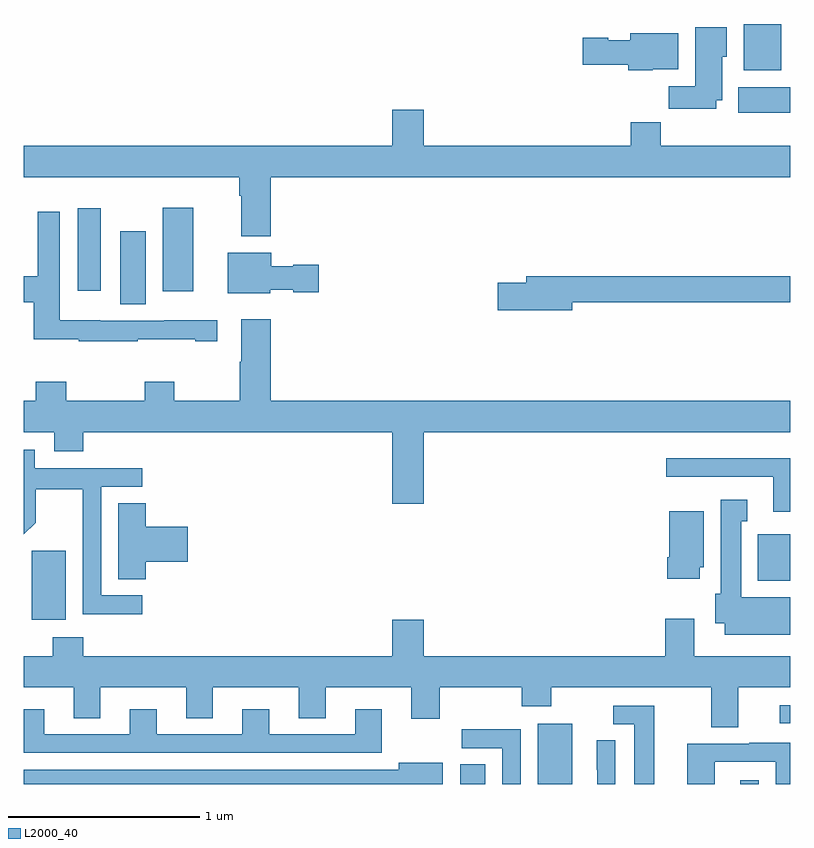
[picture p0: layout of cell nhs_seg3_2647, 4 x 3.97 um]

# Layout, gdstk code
import gdstk
lib = gdstk.Library(unit=1e-6, precision=1e-09)
def R(c, l, rs):  # rectangles x0, y0, x1, y1
    for r in rs: c.add(gdstk.rectangle(r[:2], r[2:], *l))
def P(c, l, *ps):  # polygons
    for p in ps: c.add(gdstk.Polygon(p, *l))
L2000_40 = (2000, 40)

nhs_seg3_2647 = lib.new_cell('nhs_seg3_2647')
R(nhs_seg3_2647, L2000_40, [(249.278,712.4,249.409,712.502), (249.683,712.4,249.862,712.714), (250.739,712.4,250.836,712.42), (250.947,712.716,251,712.812), (247.04,713.258,247.219,713.619), (250.832,713.462,251,713.704), (247.502,714.904,247.636,715.285), (247.724,714.972,247.885,715.408), (247.28,714.975,247.402,715.405), (250.73,715.904,251,716.038), (250.757,716.126,250.954,716.368)])
P(nhs_seg3_2647, L2000_40, [(250.615,715.97),(250.645,715.97),(250.645,716.196),(250.669,716.196),(250.669,716.35),(250.505,716.35),(250.505,716.044),(250.366,716.044),(250.366,715.926),(250.615,715.926)],
  [(250.284,716.132),(250.417,716.132),(250.417,716.32),(250.166,716.32),(250.166,716.284),(250.05,716.284),(250.05,716.297),(249.918,716.297),(249.918,716.155),(250.154,716.155),(250.154,716.126),(250.284,716.126)],
  [(248.288,715.568),(251,715.568),(251,715.732),(250.325,715.732),(250.325,715.856),(250.169,715.856),(250.169,715.732),(249.088,715.732),(249.088,715.921),(248.924,715.921),(248.924,715.732),(247,715.732),(247,715.568),(248.123,715.568),(248.123,715.472),(248.135,715.472),(248.135,715.259),(248.288,715.259)],
  [(247.595,714.721),(247.895,714.721),(247.895,714.711),(248.008,714.711),(248.008,714.82),(247.732,714.82),(247.732,714.819),(247.398,714.819),(247.398,714.82),(247.188,714.82),(247.188,715.387),(247.072,715.387),(247.072,715.052),(247,715.052),(247,714.916),(247.051,714.916),(247.051,714.721),(247.285,714.721),(247.285,714.711),(247.595,714.711)],
  [(248.286,714.98),(248.406,714.98),(248.406,714.968),(248.539,714.968),(248.539,715.11),(248.406,715.11),(248.406,715.102),(248.29,715.102),(248.29,715.174),(248.063,715.174),(248.063,714.962),(248.286,714.962)],
  [(249.862,714.916),(251,714.916),(251,715.052),(249.623,715.052),(249.623,715.016),(249.474,715.016),(249.474,714.874),(249.862,714.874)],
  [(249.088,714.236),(251,714.236),(251,714.4),(248.288,714.4),(248.288,714.826),(248.135,714.826),(248.135,714.605),(248.128,714.605),(248.128,714.4),(247.785,714.4),(247.785,714.499),(247.63,714.499),(247.63,714.4),(247.221,714.4),(247.221,714.499),(247.061,714.499),(247.061,714.4),(247,714.4),(247,714.236),(247.157,714.236),(247.157,714.137),(247.31,714.137),(247.31,714.236),(248.924,714.236),(248.924,713.862),(249.088,713.862)],
  [(247.618,713.385),(247.404,713.385),(247.404,713.952),(247.618,713.952),(247.618,714.048),(247.056,714.048),(247.056,714.145),(247,714.145),(247,713.704),(247.061,713.765),(247.061,713.94),(247.306,713.94),(247.306,713.716),(247.308,713.716),(247.308,713.287),(247.618,713.287)],
  [(251,714.1),(250.353,714.1),(250.353,714.003),(250.913,714.003),(250.913,713.822),(251,713.822)],
  [(251,713.374),(250.744,713.374),(250.744,713.771),(250.777,713.771),(250.777,713.884),(250.637,713.884),(250.637,713.394),(250.61,713.394),(250.61,713.24),(250.658,713.24),(250.658,713.18),(251,713.18)],
  [(247.637,713.561),(247.855,713.561),(247.855,713.744),(247.637,713.744),(247.637,713.867),(247.493,713.867),(247.493,713.47),(247.637,713.47)],
  [(250.528,713.532),(250.549,713.532),(250.549,713.824),(250.37,713.824),(250.37,713.584),(250.358,713.584),(250.358,713.472),(250.528,713.472)],
  [(249.088,713.257),(248.924,713.257),(248.924,713.068),(247.31,713.068),(247.31,713.167),(247.15,713.167),(247.15,713.068),(247,713.068),(247,712.904),(247.259,712.904),(247.259,712.744),(247.399,712.744),(247.399,712.904),(247.847,712.904),(247.847,712.744),(247.987,712.744),(247.987,712.904),(248.435,712.904),(248.435,712.744),(248.575,712.744),(248.575,712.904),(249.023,712.904),(249.023,712.74),(249.171,712.74),(249.171,712.904),(249.598,712.904),(249.598,712.805),(249.753,712.805),(249.753,712.904),(250.589,712.904),(250.589,712.696),(250.729,712.696),(250.729,712.904),(251,712.904),(251,713.068),(250.501,713.068),(250.501,713.263),(250.349,713.263),(250.349,713.068),(249.088,713.068)],
  [(250.291,712.809),(250.077,712.809),(250.077,712.713),(250.187,712.713),(250.187,712.4),(250.291,712.4)],
  [(248.869,712.789),(248.729,712.789),(248.729,712.659),(248.281,712.659),(248.281,712.789),(248.141,712.789),(248.141,712.659),(247.693,712.659),(247.693,712.789),(247.553,712.789),(247.553,712.659),(247.105,712.659),(247.105,712.789),(247,712.789),(247,712.563),(248.869,712.563)],
  [(249.594,712.686),(249.285,712.686),(249.285,712.587),(249.498,712.587),(249.498,712.4),(249.594,712.4)],
  [(250.086,712.628),(249.99,712.628),(249.99,712.474),(249.992,712.474),(249.992,712.4),(250.086,712.4)],
  [(250.608,712.515),(250.926,712.515),(250.926,712.4),(251,712.4),(251,712.615),(250.787,712.615),(250.787,712.611),(250.463,712.611),(250.463,712.4),(250.608,712.4)],
  [(249.187,712.51),(248.957,712.51),(248.957,712.474),(247,712.474),(247,712.4),(249.187,712.4)])

lib.write_gds('nhs_seg3_2647.gds')
